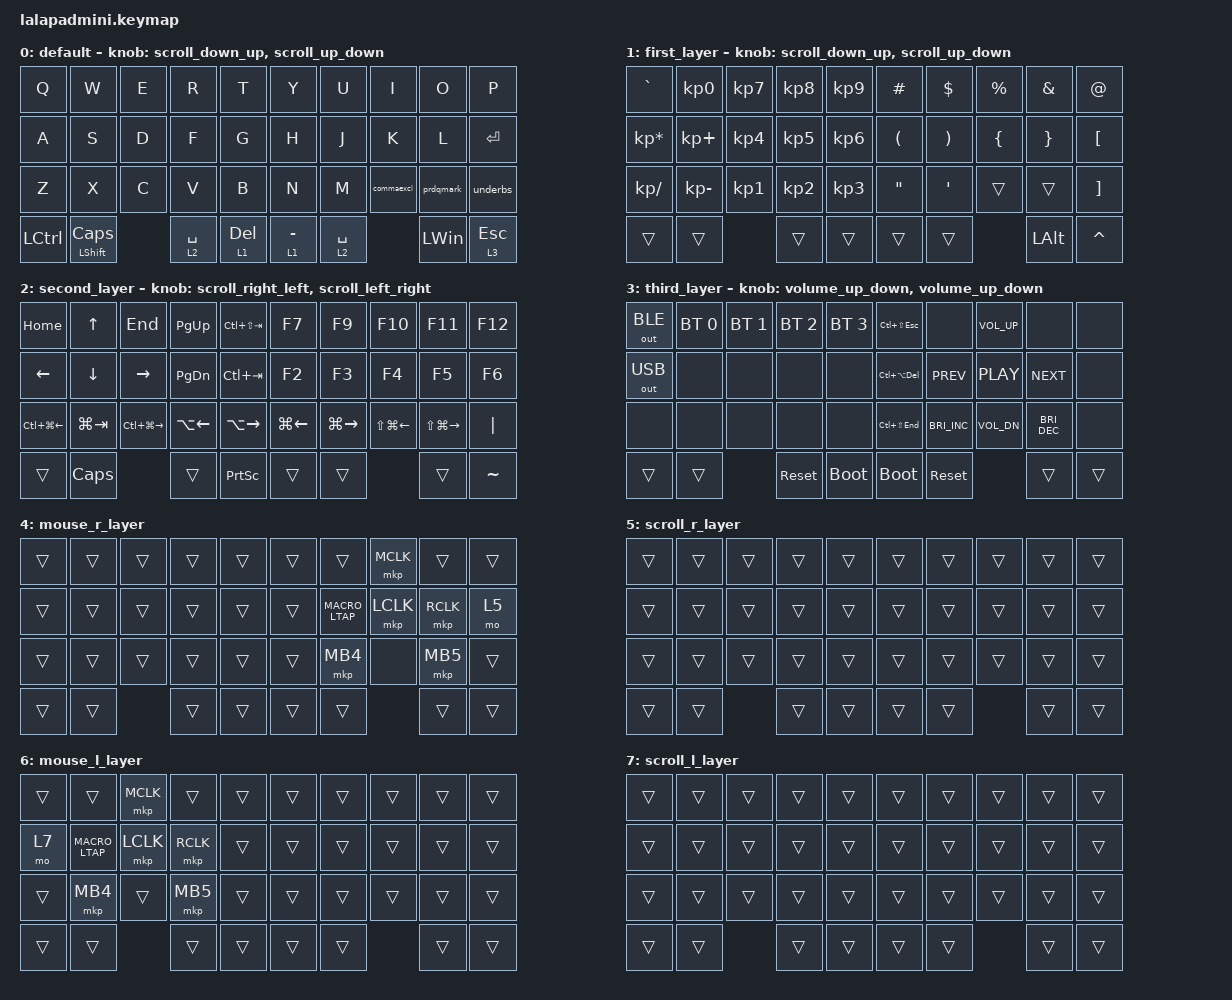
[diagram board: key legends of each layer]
#include <input/processors.dtsi>
#include <behaviors.dtsi>
#include <dt-bindings/zmk/bt.h>
#include <dt-bindings/zmk/keys.h>
#include <dt-bindings/zmk/outputs.h>
#include <dt-bindings/zmk/pointing.h>

#define DEFAULT_LAYER   0
#define FIRST_LAYER     1
#define SECOND_LAYER    2
#define THIRD_LAYER     3
#define MOUSE_R_LAYER   4
#define SCROLL_R_LAYER  5
#define MOUSE_L_LAYER   6
#define SCROLL_L_LAYER  7

// Mouse Scroll Value

#define ZMK_POINTING_DEFAULT_SCRL_VAL 100

// cirque trackpad input&layer control

&glidepoint_listener_R {
    input-processors =
        <&zip_xy_transform (INPUT_TRANSFORM_XY_SWAP | INPUT_TRANSFORM_X_INVERT | INPUT_TRANSFORM_Y_INVERT)>,
        <&zip_xy_scaler 2 2>,
        <&zip_temp_layer MOUSE_R_LAYER 300>;

    lowspeedmode {
        layers = <FIRST_LAYER>;
        input-processors =
            <&zip_xy_transform (INPUT_TRANSFORM_XY_SWAP | INPUT_TRANSFORM_X_INVERT | INPUT_TRANSFORM_Y_INVERT)>,
            <&zip_xy_scaler 3 5>,
            <&zip_temp_layer MOUSE_R_LAYER 300>;
    };

    scroller {
        layers = <SCROLL_R_LAYER>;
        input-processors =
            <&zip_xy_to_scroll_mapper>,
            <&zip_scroll_transform (INPUT_TRANSFORM_XY_SWAP | INPUT_TRANSFORM_Y_INVERT)>,
            <&zip_scroll_scaler 1 32>;
    };
};

&glidepoint_listener_L {
    input-processors =
        <&zip_xy_transform (INPUT_TRANSFORM_XY_SWAP | INPUT_TRANSFORM_X_INVERT | INPUT_TRANSFORM_Y_INVERT)>,
        <&zip_xy_scaler 3 2>,
        <&zip_temp_layer MOUSE_L_LAYER 300>;

    lowspeedmode {
        layers = <SECOND_LAYER>;
        input-processors =
            <&zip_xy_transform (INPUT_TRANSFORM_XY_SWAP | INPUT_TRANSFORM_X_INVERT | INPUT_TRANSFORM_Y_INVERT)>,
            <&zip_xy_scaler 3 4>,
            <&zip_temp_layer MOUSE_L_LAYER 300>;
    };

    scroller {
        layers = <SCROLL_L_LAYER>;
        input-processors =
            <&zip_xy_to_scroll_mapper>,
            <&zip_scroll_transform (INPUT_TRANSFORM_XY_SWAP | INPUT_TRANSFORM_Y_INVERT)>,
            <&zip_scroll_scaler 1 32>;
    };
};

&mt { quick-tap-ms = <200>; };

&lt { quick-tap-ms = <200>; };

/ {
    behaviors {
        // Encoder to Mouse Scroll

        scroll_up_down: behavior_sensor_rotate_mouse_wheel_up_down {
            compatible = "zmk,behavior-sensor-rotate";
            #sensor-binding-cells = <0>;
            bindings = <&msc SCRL_UP>, <&msc SCRL_DOWN>;

            tap-ms = <20>;
        };

        scroll_down_up: behavior_sensor_rotate_mouse_wheel_down_up {
            compatible = "zmk,behavior-sensor-rotate";
            #sensor-binding-cells = <0>;
            bindings = <&msc SCRL_DOWN>, <&msc SCRL_UP>;

            tap-ms = <20>;
        };

        scroll_left_right: behavior_sensor_rotate_mouse_wheel_left_right {
            compatible = "zmk,behavior-sensor-rotate";
            #sensor-binding-cells = <0>;
            bindings = <&msc SCRL_LEFT>, <&msc SCRL_RIGHT>;

            tap-ms = <20>;
        };

        scroll_right_left: behavior_sensor_rotate_mouse_wheel_right_left {
            compatible = "zmk,behavior-sensor-rotate";
            #sensor-binding-cells = <0>;
            bindings = <&msc SCRL_RIGHT>, <&msc SCRL_LEFT>;

            tap-ms = <20>;
        };

        volume_up_down: behavior_sensor_rotate_volume_up_down {
            compatible = "zmk,behavior-sensor-rotate";
            #sensor-binding-cells = <0>;
            bindings = <&kp C_VOLUME_UP>, <&kp C_VOLUME_DOWN>;

            tap-ms = <20>;
        };

        mt2: mod_tap2 {
            compatible = "zmk,behavior-hold-tap";
            #binding-cells = <2>;
            flavor = "tap-preferred";
            tapping-term-ms = <200>;
            quick-tap-ms = <200>;
            require-prior-idle-ms = <125>;
            bindings = <&kp>, <&kp>;
        };

        clck: caps_lock {
            compatible = "zmk,behavior-tap-dance";
            label = "CAPS_LOCK";
            #binding-cells = <0>;
            bindings = <&kp CLCK>, <&kp CLCK>;

            tapping-term-ms = <100>;
        };

        commaexcl: comma_exclamation {
            compatible = "zmk,behavior-mod-morph";
            label = "COMMA_EXCLAMATION";
            bindings = <&kp COMMA>, <&kp EXCL>;

            #binding-cells = <0>;
            mods = <(MOD_LSFT|MOD_RSFT)>;
        };

        prdqmark: period_question-mark {
            compatible = "zmk,behavior-mod-morph";
            label = "PERIOD QUESTION-MARK";
            bindings = <&kp PERIOD>, <&kp QMARK>;

            #binding-cells = <0>;
            mods = <(MOD_LSFT|MOD_RSFT)>;
        };

        underbs: underscore_backslash {
            compatible = "zmk,behavior-mod-morph";
            label = "UNDERSCORE_BACKSLASH";
            bindings = <&kp UNDER>, <&kp BACKSLASH>;

            #binding-cells = <0>;
            mods = <(MOD_LSFT|MOD_RSFT)>;
            keep-mods = <(MOD_LSFT|MOD_RSFT)>;
        };
    };

    combos {
        compatible = "zmk,combos";

        COMBO_TAB {
            bindings = <&kp TAB>;
            key-positions = <0 1>;
        };

        COMBO_BSPC {
            bindings = <&kp BSPC>;
            key-positions = <8 9>;
        };
    };

    macros {
        MACRO_LTAP: MACRO_LTAP {
            compatible = "zmk,behavior-macro";
            #binding-cells = <0>;
            bindings = <&mkp LCLK>;
            label = "MACRO_LTAP";
        };
    };

    keymap {
        compatible = "zmk,keymap";

        DEFAULT_LAYER {
            display-name = "default";
            sensor-bindings = <&scroll_down_up>, <&scroll_up_down>;

            bindings = <
&kp Q      &kp W            &kp E  &kp R        &kp T      &kp Y        &kp U        &kp I       &kp O      &kp P
&kp A      &kp S            &kp D  &kp F        &kp G      &kp H        &kp J        &kp K       &kp L      &kp ENTER
&kp Z      &kp X            &kp C  &kp V        &kp B      &kp N        &kp M        &commaexcl  &prdqmark  &underbs
&kp LCTRL  &mt LSHIFT CLCK         &lt 2 SPACE  &lt 1 DEL  &lt 1 MINUS  &lt 2 SPACE              &kp LWIN   &lt 3 ESC
            >;
        };

        FIRST_LAYER {
            display-name = "first_layer";
            sensor-bindings = <&scroll_down_up>, <&scroll_up_down>;

            bindings = <
&kp GRAVE        &kp KP_NUMBER_0  &kp KP_NUMBER_7  &kp KP_NUMBER_8  &kp KP_NUMBER_9  &kp HASH  &kp DLLR  &kp PRCNT  &kp AMPS      &kp AT
&kp KP_MULTIPLY  &kp KP_PLUS      &kp KP_NUMBER_4  &kp KP_NUMBER_5  &kp KP_NUMBER_6  &kp LPAR  &kp RPAR  &kp LBRC   &kp RBRC      &kp LBKT
&kp KP_DIVIDE    &kp KP_MINUS     &kp KP_NUMBER_1  &kp KP_NUMBER_2  &kp KP_NUMBER_3  &kp DQT   &kp SQT   &trans     &trans        &kp RBKT
&trans           &trans                            &trans           &trans           &trans    &trans               &kp LEFT_ALT  &kp CARET
            >;
        };

        SECOND_LAYER {
            display-name = "second_layer";
            sensor-bindings = <&scroll_right_left>, <&scroll_left_right>;

            bindings = <
&kp HOME          &kp UP       &kp END            &kp PAGE_UP    &kp LC(LS(TAB))  &kp F7        &kp F9         &kp F10           &kp F11            &kp F12
&kp LEFT          &kp DOWN     &kp RIGHT          &kp PAGE_DOWN  &kp LC(TAB)      &kp F2        &kp F3         &kp F4            &kp F5             &kp F6
&kp LC(LG(LEFT))  &kp LG(TAB)  &kp LC(LG(RIGHT))  &kp LA(LEFT)   &kp LA(RIGHT)    &kp LG(LEFT)  &kp LG(RIGHT)  &kp LS(LG(LEFT))  &kp LS(LG(RIGHT))  &kp PIPE
&trans            &kp CLCK                        &trans         &kp PSCRN        &trans        &trans                           &trans             &kp TILDE
            >;
        };

        THIRD_LAYER {
            display-name = "third_layer";
            sensor-bindings = <&volume_up_down>, <&volume_up_down>;

            bindings = <
&out OUT_BLE  &bt BT_SEL 0  &bt BT_SEL 1  &bt BT_SEL 2  &bt BT_SEL 3  &kp LC(LS(ESC))  &none          &kp C_VOL_UP  &none          &none
&out OUT_USB  &none         &none         &none         &none         &kp LC(LA(DEL))  &kp C_PREV     &kp C_PLAY    &kp C_NEXT     &none
&none         &none         &none         &none         &none         &kp LC(LS(END))  &kp C_BRI_INC  &kp C_VOL_DN  &kp C_BRI_DEC  &none
&trans        &trans                      &sys_reset    &bootloader   &bootloader      &sys_reset                   &trans         &trans
            >;
        };

        MOUSE_R_LAYER {
            display-name = "mouse_r_layer";
            bindings = <
&trans  &trans  &trans  &trans  &trans  &trans  &trans       &mkp MCLK  &trans     &trans
&trans  &trans  &trans  &trans  &trans  &trans  &MACRO_LTAP  &mkp LCLK  &mkp RCLK  &mo 5
&trans  &trans  &trans  &trans  &trans  &trans  &mkp MB4     &none      &mkp MB5   &trans
&trans  &trans          &trans  &trans  &trans  &trans                  &trans     &trans
            >;
        };

        SCROLL_R_LAYER {
            display-name = "scroll_r_layer";
            bindings = <
&trans  &trans  &trans  &trans  &trans  &trans  &trans  &trans  &trans  &trans
&trans  &trans  &trans  &trans  &trans  &trans  &trans  &trans  &trans  &trans
&trans  &trans  &trans  &trans  &trans  &trans  &trans  &trans  &trans  &trans
&trans  &trans          &trans  &trans  &trans  &trans          &trans  &trans
            >;
        };

        MOUSE_L_LAYER {
            display-name = "mouse_l_layer";
            bindings = <
&trans  &trans       &mkp MCLK  &trans     &trans  &trans  &trans  &trans  &trans  &trans
&mo 7   &MACRO_LTAP  &mkp LCLK  &mkp RCLK  &trans  &trans  &trans  &trans  &trans  &trans
&trans  &mkp MB4     &trans     &mkp MB5   &trans  &trans  &trans  &trans  &trans  &trans
&trans  &trans                  &trans     &trans  &trans  &trans          &trans  &trans
            >;
        };

        SCROLL_L_LAYER {
            display-name = "scroll_l_layer";
            bindings = <
&trans  &trans  &trans  &trans  &trans  &trans  &trans  &trans  &trans  &trans
&trans  &trans  &trans  &trans  &trans  &trans  &trans  &trans  &trans  &trans
&trans  &trans  &trans  &trans  &trans  &trans  &trans  &trans  &trans  &trans
&trans  &trans          &trans  &trans  &trans  &trans          &trans  &trans
            >;
        };
    };

    conditional_layers { compatible = "zmk,conditional-layers"; };
};
